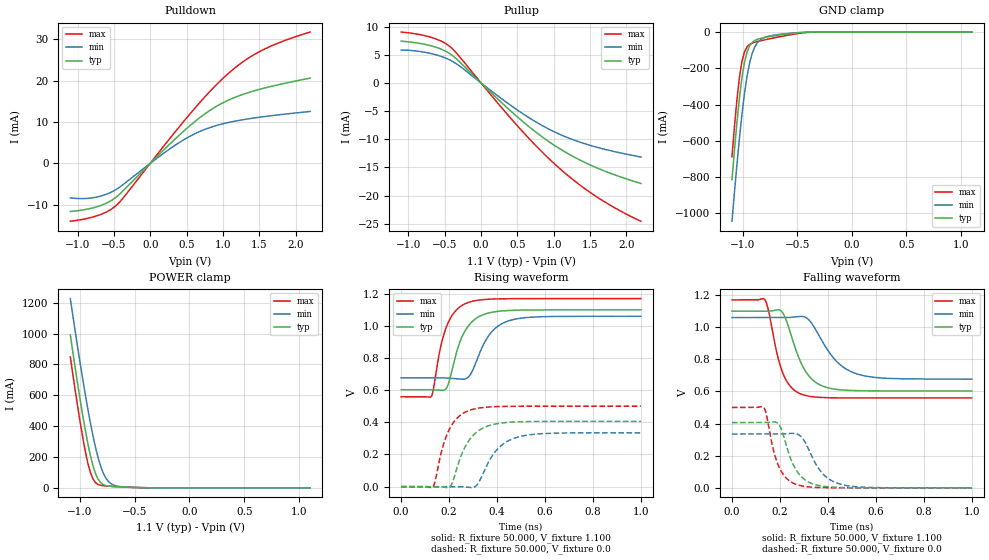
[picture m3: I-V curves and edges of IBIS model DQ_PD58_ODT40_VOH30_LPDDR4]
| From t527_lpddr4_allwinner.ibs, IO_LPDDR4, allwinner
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|   Model DQ_PD58_ODT40_VOH30_LPDDR4
[Model] DQ_PD58_ODT40_VOH30_LPDDR4
Model_type I/O
Polarity   Non-Inverting
Enable   Active-Low
Vinl =  0.550V
Vinh =  0.550V
C_comp   1.598pF   1.562pF   1.653pF
C_comp_pullup   0.526pF   0.507pF   0.548pF
C_comp_pulldown   0.809pF   0.783pF   0.842pF
[Model Spec]
Vinh   0.550V   0.530V   0.585V
Vinl   0.550V   0.530V   0.585V
[Temperature Range]   25.000   0.125k   -40.000
[Voltage Range]   1.100V   1.060V   1.170V
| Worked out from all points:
|   slope of the pulldown table from 0 to 0.165 V, typ, clamps not added: 57.2 ohm
|   slope of the pullup table from 0 to 0.165 V, typ, clamps not added: 80.1 ohm
|   GND clamp passes 1 mA (typ) near -0.41 V on its own axis
|   POWER clamp passes 1 mA (typ) near -0.43 V on its own axis
|   rising waveform, R_fixture 50.000, V_fixture 1.100: 20-80 % time 72.1ps typ, 84.1ps min, 62.8ps max; typ from 0.603 V to 1.1 V
|   rising waveform, R_fixture 50.000, V_fixture 0.0: 20-80 % time 78.4ps typ, 90.7ps min, 67.7ps max; typ from 0 V to 0.406 V
|   falling waveform, R_fixture 50.000, V_fixture 1.100: 20-80 % time 81.5ps typ, 112ps min, 61.9ps max; typ from 1.1 V to 0.603 V
|   falling waveform, R_fixture 50.000, V_fixture 0.0: 20-80 % time 67ps typ, 82.7ps min, 55.6ps max; typ from 0.406 V to 0 V
[Pulldown]
|Voltage   I(typ)   I(min)   I(max)
-1.1V     -11.63mA   -8.348mA   -14mA
-930mV    -11.27mA   -8.518mA   -13.54mA
-760mV    -10.62mA   -8.235mA   -12.82mA
-590mV    -9.511mA   -7.373mA   -11.64mA
-454mV    -7.942mA   -6.133mA   -9.947mA
396mV     6.761mA    4.984mA    8.759mA
668mV     10.85mA    7.592mA    14.42mA
940mV     14.06mA    9.284mA    19.51mA
1.212V    16.26mA    10.34mA    23.71mA
1.484V    17.78mA    11.1mA     26.81mA
1.79V     19.1mA     11.77mA    29.27mA
2.2V      20.58mA    12.53mA    31.73mA
[Pullup]
|Voltage   I(typ)   I(min)   I(max)
-1.1V     7.428mA    5.851mA    9.045mA
-690mV    6.608mA    5.228mA    8.118mA
-520mV    5.839mA    4.581mA    7.239mA
-418mV    5.091mA    3.997mA    6.347mA
-282mV    3.584mA    2.878mA    4.448mA
466mV     -5.65mA    -4.511mA   -7.12mA
738mV     -8.578mA   -6.799mA   -10.94mA
1.01V     -11.09mA   -8.694mA   -14.37mA
1.282V    -13.17mA   -10.16mA   -17.36mA
1.554V    -14.86mA   -11.28mA   -19.91mA
1.86V     -16.42mA   -12.26mA   -22.33mA
2.2V      -17.86mA   -13.16mA   -24.57mA
[GND_clamp]
|Voltage   I(typ)   I(min)   I(max)
-1.1V     -814.3mA   -1.043A    -687.3mA
-1.054V   -495.2mA   -726.8mA   -368.6mA
-1.031V   -359.9mA   -582mA     -246.8mA
-1.008V   -249mA     -451mA     -160.6mA
-985mV    -166.3mA   -337.4mA   -109.1mA
-962mV    -111mA     -244.1mA   -82.21mA
-939mV    -77.52mA   -172.2mA   -68.77mA
-893mV    -47.38mA   -84.61mA   -56.67mA
-847mV    -36.3mA    -46.06mA   -49.6mA
-709mV    -20.71mA   -16.6mA    -31.62mA
-364mV    -364.7uA   -458uA     -980.4uA
1.1V      0A         0A         0A
[POWER_clamp]
|Voltage   I(typ)   I(min)   I(max)
-1.085V   991.5mA    1.227A     848.5mA
-1.016V   664.1mA    901.8mA    518.1mA
-970mV    462mA      696.7mA    319.4mA
-924mV    282.7mA    505.5mA    156.2mA
-901mV    206.2mA    417.2mA    96.77mA
-855mV    91.54mA    261mA      33.12mA
-809mV    34.38mA    141.1mA    16.54mA
-763mV    15.18mA    65.46mA    12.33mA
-717mV    9.405mA    28.28mA    10.15mA
-625mV    5.457mA    7.413mA    6.614mA
-441mV    1.152mA    1.562mA    1.233mA
1.1V      0A         0A         0A
[Ramp]
| variable   typ   min   max
dV/dt_r   0.244/78.438p   0.201/90.749p   0.300/67.756p
dV/dt_f   0.298/81.586p   0.230/0.112n   0.366/61.939p
R_load = 50.000
[Rising Waveform]
R_fixture= 50.000
V_fixture= 1.100
V_fixture_min= 1.060
V_fixture_max= 1.170
|time   V(typ)   V(min)   V(max)
0s        603.1mV    676.9mV    559.4mV
126ps     602.9mV    677mV      562.5mV
163ps     599.4mV    676.7mV    858mV
188ps     610.7mV    676mV      991mV
239ps     874.9mV    669.6mV    1.111V
272ps     982.4mV    673mV      1.142V
295ps     1.025V     713.8mV    1.153V
365ps     1.081V     939.4mV    1.166V
442ps     1.096V     1.028V     1.169V
1ns       1.1V       1.06V      1.17V
[Rising Waveform]
R_fixture= 50.000
V_fixture= 0.0
V_fixture_min= 0.0
V_fixture_max= 0.0
|time   V(typ)   V(min)   V(max)
0s        2.457uV    60.31uV    179.6nV
132ps     464uV      144.6uV    -3.168mV
173ps     -1.334mV   62.94uV    244.5mV
199ps     -6.21mV    407.9uV    350.5mV
236ps     131.8mV    476.6uV    430.3mV
286ps     293.7mV    -5.325mV   475.4mV
318ps     342.8mV    14.41mV    487.4mV
399ps     391.4mV    229mV      498mV
478ps     402.7mV    304.6mV    499.9mV
1ns       406.3mV    335mV      500.4mV
[Falling Waveform]
R_fixture= 50.000
V_fixture= 1.100
V_fixture_min= 1.060
V_fixture_max= 1.170
|time   V(typ)   V(min)   V(max)
0s        1.1V       1.06V      1.17V
137ps     1.099V     1.06V      1.171V
210ps     1.093V     1.059V     722.4mV
242ps     973.1mV    1.061V     634.3mV
287ps     780.8mV    1.067V     584.3mV
322ps     694.4mV    1.043V     570mV
365ps     642.3mV    942.6mV    563.1mV
434ps     613mV      790.6mV    560.1mV
509ps     605.3mV    715.5mV    559.6mV
1ns       603.1mV    677mV      559.4mV
[Falling Waveform]
R_fixture= 50.000
V_fixture= 0.0
V_fixture_min= 0.0
V_fixture_max= 0.0
|time   V(typ)   V(min)   V(max)
0s        406.3mV    335mV      500.4mV
133ps     406.1mV    334.9mV    499.2mV
173ps     410.6mV    335.1mV    234.8mV
194ps     397.5mV    334.8mV    137.6mV
226ps     267.5mV    336.6mV    61.13mV
270ps     105.3mV    335.5mV    20.18mV
300ps     54.91mV    296.3mV    9.524mV
373ps     11.36mV    97.33mV    1.561mV
447ps     2.373mV    24.99mV    242uV
1ns       2.483uV    61.41uV    180.7nV
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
